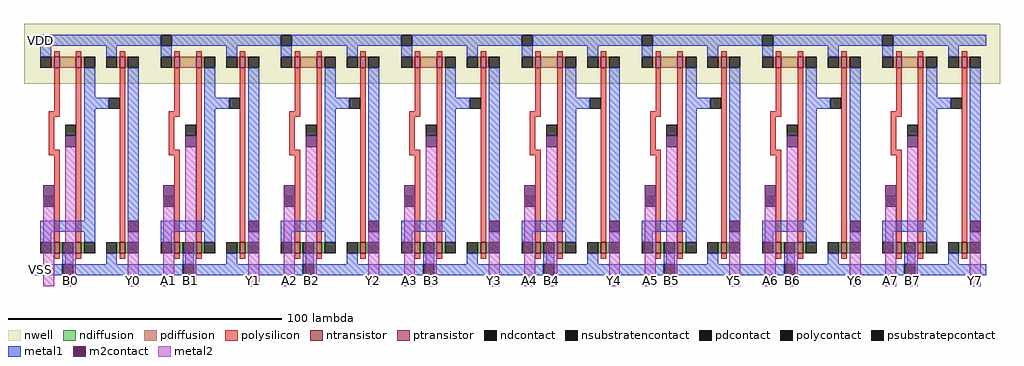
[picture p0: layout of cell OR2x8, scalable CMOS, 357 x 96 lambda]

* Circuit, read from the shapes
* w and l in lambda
.subckt OR2x8 A0 A1 A2 A3 A4 A5 A6 A7 B0 B1 B2 B3 B4 B5 B6 B7 VDD VSS Y0 Y1 Y2 Y3 Y4 Y5 Y6 Y7
M1 VSS A0 n1 VSS nfet w=4 l=2
M2 n1 B0 VSS VSS nfet w=4 l=2
M3 Y0 n1 VSS VSS nfet w=4 l=2
M4 VSS A1 n2 VSS nfet w=4 l=2
M5 n2 B1 VSS VSS nfet w=4 l=2
M6 Y1 n2 VSS VSS nfet w=4 l=2
M7 VSS A2 n3 VSS nfet w=4 l=2
M8 n3 B2 VSS VSS nfet w=4 l=2
M9 Y2 n3 VSS VSS nfet w=4 l=2
M10 VSS A3 n4 VSS nfet w=4 l=2
M11 n4 B3 VSS VSS nfet w=4 l=2
M12 Y3 n4 VSS VSS nfet w=4 l=2
M13 VSS A4 n5 VSS nfet w=4 l=2
M14 n5 B4 VSS VSS nfet w=4 l=2
M15 Y4 n5 VSS VSS nfet w=4 l=2
M16 VSS A5 n6 VSS nfet w=4 l=2
M17 n6 B5 VSS VSS nfet w=4 l=2
M18 Y5 n6 VSS VSS nfet w=4 l=2
M19 VSS A6 n7 VSS nfet w=4 l=2
M20 n7 B6 VSS VSS nfet w=4 l=2
M21 Y6 n7 VSS VSS nfet w=4 l=2
M22 VSS A7 n8 VSS nfet w=4 l=2
M23 n8 B7 VSS VSS nfet w=4 l=2
M24 Y7 n8 VSS VSS nfet w=4 l=2
M25 n9 A0 VDD VDD pfet w=4 l=2
M26 n1 B0 n9 VDD pfet w=4 l=2
M27 Y0 n1 VDD VDD pfet w=4 l=2
M28 n10 A1 VDD VDD pfet w=4 l=2
M29 n2 B1 n10 VDD pfet w=4 l=2
M30 Y1 n2 VDD VDD pfet w=4 l=2
M31 n11 A2 VDD VDD pfet w=4 l=2
M32 n3 B2 n11 VDD pfet w=4 l=2
M33 Y2 n3 VDD VDD pfet w=4 l=2
M34 n12 A3 VDD VDD pfet w=4 l=2
M35 n4 B3 n12 VDD pfet w=4 l=2
M36 Y3 n4 VDD VDD pfet w=4 l=2
M37 n13 A4 VDD VDD pfet w=4 l=2
M38 n5 B4 n13 VDD pfet w=4 l=2
M39 Y4 n5 VDD VDD pfet w=4 l=2
M40 n14 A5 VDD VDD pfet w=4 l=2
M41 n6 B5 n14 VDD pfet w=4 l=2
M42 Y5 n6 VDD VDD pfet w=4 l=2
M43 n15 A6 VDD VDD pfet w=4 l=2
M44 n7 B6 n15 VDD pfet w=4 l=2
M45 Y6 n7 VDD VDD pfet w=4 l=2
M46 n16 A7 VDD VDD pfet w=4 l=2
M47 n8 B7 n16 VDD pfet w=4 l=2
M48 Y7 n8 VDD VDD pfet w=4 l=2
.ends

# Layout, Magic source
magic
tech scmos
<< metal1 >>
rect 4 84 8 88
rect 44 84 48 88
rect 88 84 92 88
rect 132 84 136 88
rect 176 84 180 88
rect 220 84 224 88
rect 264 84 268 88
rect 308 84 312 88
rect 4 0 8 4
rect 44 0 48 4
rect 88 0 92 4
rect 132 0 136 4
rect 176 0 180 4
rect 220 0 224 4
rect 264 0 268 4
rect 308 0 312 4
<< m2contact >>
rect 15 47 19 51
rect 59 47 63 51
rect 103 47 107 51
rect 147 47 151 51
rect 191 47 195 51
rect 235 47 239 51
rect 279 47 283 51
rect 323 47 327 51
rect 7 29 11 33
rect 51 29 55 33
rect 95 29 99 33
rect 139 29 143 33
rect 183 29 187 33
rect 227 29 231 33
rect 271 29 275 33
rect 315 29 319 33
rect 38 16 42 20
rect 82 16 86 20
rect 126 16 130 20
rect 170 16 174 20
rect 214 16 218 20
rect 258 16 262 20
rect 302 16 306 20
rect 346 16 350 20
<< metal2 >>
rect 7 -4 11 29
rect 15 -4 19 47
rect 38 -4 42 16
rect 51 -4 55 29
rect 59 -4 63 47
rect 82 -4 86 16
rect 95 -4 99 29
rect 103 -4 107 47
rect 126 -4 130 16
rect 139 -4 143 29
rect 147 -4 151 47
rect 170 -4 174 16
rect 183 -4 187 29
rect 191 -4 195 47
rect 214 -4 218 16
rect 227 -4 231 29
rect 235 -4 239 47
rect 258 -4 262 16
rect 271 -4 275 29
rect 279 -4 283 47
rect 302 -4 306 16
rect 315 -4 319 29
rect 323 -4 327 47
rect 346 -4 350 16
use OR2  OR2_7
transform 1 0 312 0 1 0
box -4 0 45 92
use OR2  OR2_6
transform 1 0 268 0 1 0
box -4 0 45 92
use OR2  OR2_5
transform 1 0 224 0 1 0
box -4 0 45 92
use OR2  OR2_4
transform 1 0 180 0 1 0
box -4 0 45 92
use OR2  OR2_3
transform 1 0 136 0 1 0
box -4 0 45 92
use OR2  OR2_2
transform 1 0 92 0 1 0
box -4 0 45 92
use OR2  OR2_1
transform 1 0 48 0 1 0
box -4 0 45 92
use OR2  OR2_0
transform 1 0 4 0 1 0
box -4 0 45 92
<< labels >>
rlabel metal1 6 2 6 2 1 VSS
rlabel metal1 6 86 6 86 1 VDD
rlabel metal2 9 -2 9 -2 1 A0
rlabel metal2 17 -2 17 -2 1 B0
rlabel metal2 40 -2 40 -2 1 Y0
rlabel metal2 53 -2 53 -2 1 A1
rlabel metal2 61 -2 61 -2 1 B1
rlabel metal2 84 -2 84 -2 1 Y1
rlabel metal2 97 -2 97 -2 1 A2
rlabel metal2 105 -2 105 -2 1 B2
rlabel metal2 128 -2 128 -2 1 Y2
rlabel metal2 141 -2 141 -2 1 A3
rlabel metal2 149 -2 149 -2 1 B3
rlabel metal2 172 -2 172 -2 1 Y3
rlabel metal2 185 -2 185 -2 1 A4
rlabel metal2 193 -2 193 -2 1 B4
rlabel metal2 216 -2 216 -2 1 Y4
rlabel metal2 229 -2 229 -2 1 A5
rlabel metal2 237 -2 237 -2 1 B5
rlabel metal2 260 -2 260 -2 1 Y5
rlabel metal2 273 -2 273 -2 1 A6
rlabel metal2 281 -2 281 -2 1 B6
rlabel metal2 304 -2 304 -2 1 Y6
rlabel metal2 317 -2 317 -2 1 A7
rlabel metal2 325 -2 325 -2 1 B7
rlabel metal2 348 -2 348 -2 1 Y7
<< end >>

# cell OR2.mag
magic
tech scmos
<< nwell >>
rect -4 70 45 92
<< ntransistor >>
rect 7 8 9 12
rect 15 8 17 12
rect 31 8 33 12
<< ptransistor >>
rect 7 76 9 80
rect 15 76 17 80
rect 31 76 33 80
<< ndiffusion >>
rect 6 8 7 12
rect 9 8 10 12
rect 14 8 15 12
rect 17 8 18 12
rect 30 8 31 12
rect 33 8 34 12
<< pdiffusion >>
rect 6 76 7 80
rect 9 76 15 80
rect 17 76 18 80
rect 30 76 31 80
rect 33 76 34 80
<< ndcontact >>
rect 2 8 6 12
rect 10 8 14 12
rect 18 8 22 12
rect 26 8 30 12
rect 34 8 38 12
<< pdcontact >>
rect 2 76 6 80
rect 18 76 22 80
rect 26 76 30 80
rect 34 76 38 80
<< psubstratepcontact >>
rect 10 0 14 4
<< nsubstratencontact >>
rect 2 84 6 88
<< polysilicon >>
rect 7 80 9 82
rect 15 80 17 82
rect 31 80 33 82
rect 7 60 9 76
rect 5 58 9 60
rect 5 46 7 58
rect 5 44 9 46
rect 7 12 9 44
rect 15 12 17 76
rect 31 12 33 76
rect 7 6 9 8
rect 15 6 17 8
rect 31 6 33 8
<< polycontact >>
rect 11 51 15 55
rect 3 25 7 29
rect 27 61 31 65
<< metal1 >>
rect 0 84 2 88
rect 6 84 40 88
rect 2 80 6 84
rect 26 80 30 84
rect 18 65 22 76
rect 18 61 27 65
rect 18 20 22 61
rect 2 16 22 20
rect 2 12 6 16
rect 18 12 22 16
rect 34 12 38 76
rect 10 4 14 8
rect 26 4 30 8
rect 0 0 10 4
rect 14 0 40 4
<< labels >>
rlabel nsubstratencontact 4 86 4 86 1 VDD
rlabel psubstratepcontact 12 2 12 2 1 VSS
rlabel polycontact 5 27 5 27 1 A
rlabel polycontact 13 53 13 53 1 B
rlabel metal1 36 43 36 43 1 Y
<< end >>
